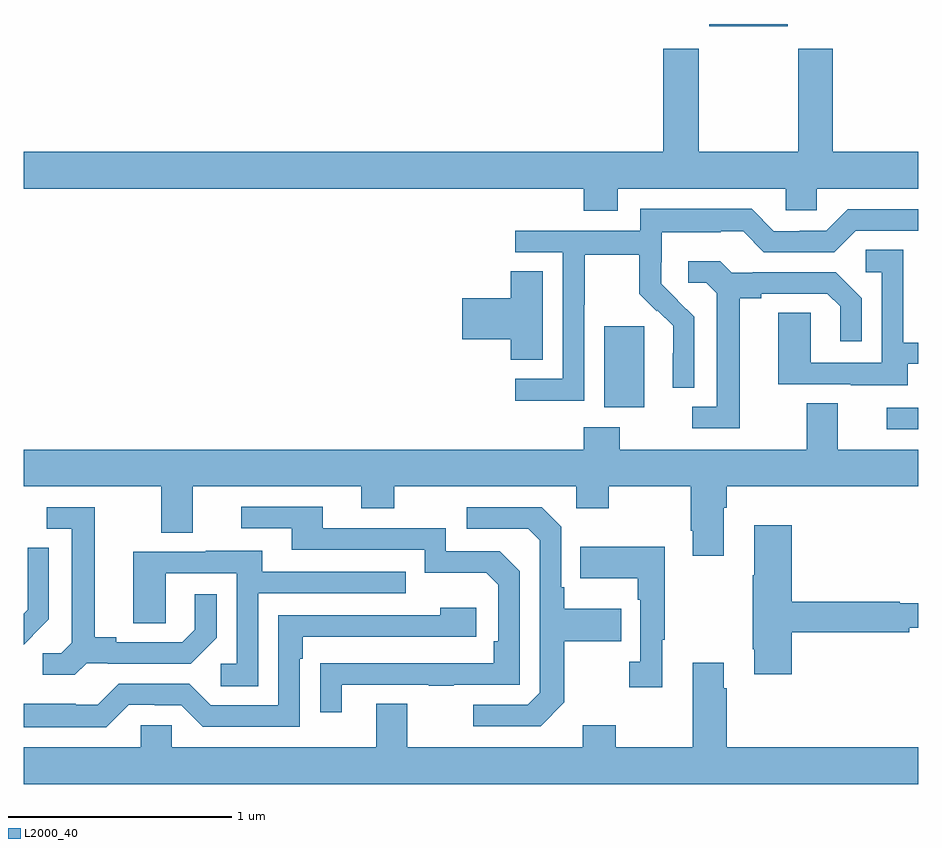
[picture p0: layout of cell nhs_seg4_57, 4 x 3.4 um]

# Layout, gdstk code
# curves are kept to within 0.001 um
import gdstk
lib = gdstk.Library(unit=1e-6, precision=1e-09)
def R(c, l, rs):  # rectangles x0, y0, x1, y1
    for r in rs: c.add(gdstk.rectangle(r[:2], r[2:], *l))
def P(c, l, *ps):  # polygons
    for p in ps: c.add(gdstk.Polygon(p, *l))
L2000_40 = (2000, 40)

nhs_seg4_57 = lib.new_cell('nhs_seg4_57')
R(nhs_seg4_57, L2000_40, [(116.859,785.088,117,785.184), (115.595,785.186,115.774,785.547), (116.066,786.89,116.416,786.9)])
P(nhs_seg4_57, L2000_40, [(115.657,786.164),(116.409,786.164),(116.409,786.066),(116.547,786.066),(116.547,786.164),(117,786.164),(117,786.328),(116.619,786.328),(116.619,786.79),(116.464,786.79),(116.464,786.328),(116.019,786.328),(116.019,786.79),(115.859,786.79),(115.859,786.328),(113,786.328),(113,786.164),(115.505,786.164),(115.505,786.065),(115.657,786.065)],
  [(115.506,785.644),(115.509,785.644),(115.509,785.868),(115.753,785.868),(115.753,785.693),(115.83,785.616),(115.833,785.619),(115.904,785.549),(115.904,785.426),(115.902,785.426),(115.902,785.272),(115.998,785.272),(115.998,785.59),(115.852,785.738),(115.852,785.835),(115.854,785.835),(115.854,785.969),(116.117,785.969),(116.117,785.973),(116.217,785.973),(116.31,785.88),(116.625,785.88),(116.721,785.976),(117,785.976),(117,786.072),(116.685,786.072),(116.589,785.976),(116.471,785.976),(116.471,785.973),(116.355,785.973),(116.255,786.073),(115.758,786.073),(115.758,785.976),(115.197,785.976),(115.197,785.88),(115.41,785.88),(115.41,785.313),(115.197,785.313),(115.197,785.215),(115.506,785.215)],
  [(116.953,785.379),(117,785.379),(117,785.475),(116.934,785.475),(116.934,785.891),(116.766,785.891),(116.766,785.79),(116.838,785.79),(116.838,785.385),(116.52,785.385),(116.52,785.609),(116.375,785.609),(116.375,785.289),(116.699,785.289),(116.699,785.285),(116.953,785.285)],
  [(116.203,785.672),(116.299,785.672),(116.299,785.694),(116.594,785.694),(116.651,785.637),(116.651,785.481),(116.748,785.481),(116.748,785.674),(116.632,785.79),(116.26,785.79),(116.26,785.787),(116.166,785.787),(116.114,785.839),(115.971,785.839),(115.971,785.742),(116.052,785.742),(116.099,785.695),(116.099,785.187),(115.989,785.187),(115.989,785.091),(116.203,785.091)],
  [(115.321,785.795),(115.178,785.795),(115.178,785.672),(114.96,785.672),(114.96,785.489),(115.178,785.489),(115.178,785.398),(115.321,785.398)],
  [(116.131,784.736),(116.144,784.736),(116.144,784.832),(117,784.832),(117,784.996),(116.641,784.996),(116.641,785.204),(116.501,785.204),(116.501,784.996),(115.665,784.996),(115.665,785.095),(115.505,785.095),(115.505,784.996),(113,784.996),(113,784.832),(113.615,784.832),(113.615,784.624),(113.755,784.624),(113.755,784.832),(114.509,784.832),(114.509,784.733),(114.657,784.733),(114.657,784.832),(115.47,784.832),(115.47,784.733),(115.617,784.733),(115.617,784.832),(115.984,784.832),(115.984,784.633),(115.991,784.633),(115.991,784.521),(116.131,784.521)],
  [(114.421,783.945),(114.811,783.945),(114.811,783.94),(114.923,783.94),(114.923,783.945),(115.218,783.945),(115.218,784.452),(115.128,784.542),(114.888,784.542),(114.888,784.644),(114.337,784.644),(114.337,784.74),(113.973,784.74),(113.973,784.644),(114.197,784.644),(114.197,784.548),(114.792,784.548),(114.792,784.445),(115.069,784.445),(115.122,784.392),(115.122,784.138),(115.102,784.138),(115.102,784.041),(114.325,784.04),(114.325,783.822),(114.421,783.822)],
  [(115.417,783.865),(115.417,784.138),(115.673,784.138),(115.673,784.285),(115.417,784.285),(115.417,784.381),(115.404,784.381),(115.404,784.65),(115.317,784.737),(114.981,784.737),(114.981,784.641),(115.257,784.641),(115.308,784.59),(115.308,783.909),(115.254,783.855),(115.011,783.855),(115.011,783.759),(115.311,783.759)],
  [(113.28,784.041),(113.374,784.041),(113.374,784.038),(113.746,784.038),(113.862,784.154),(113.862,784.348),(113.765,784.348),(113.765,784.191),(113.708,784.134),(113.413,784.134),(113.413,784.157),(113.317,784.157),(113.317,784.737),(113.103,784.737),(113.103,784.641),(113.213,784.641),(113.213,784.133),(113.166,784.086),(113.085,784.086),(113.085,783.989),(113.228,783.989)],
  [(116.435,784.18),(116.96,784.18),(116.96,784.199),(117,784.199),(117,784.309),(116.918,784.309),(116.918,784.316),(116.435,784.316),(116.435,784.657),(116.267,784.657),(116.267,784.433),(116.26,784.433),(116.26,784.102),(116.267,784.102),(116.267,783.99),(116.435,783.99)],
  [(115.855,784.145),(115.867,784.145),(115.867,784.561),(115.489,784.561),(115.489,784.421),(115.746,784.421),(115.746,784.325),(115.758,784.325),(115.758,784.046),(115.707,784.046),(115.707,783.933),(115.855,783.933)],
  [(113.04,784.164),(113.039,784.165),(113.112,784.238),(113.112,784.556),(113.016,784.556),(113.016,784.402),(113.018,784.402),(113.018,784.28),(113,784.262),(113,784.124)],
  [(114.048,784.353),(114.707,784.353),(114.707,784.449),(114.067,784.449),(114.067,784.543),(113.813,784.543),(113.813,784.539),(113.489,784.539),(113.489,784.219),(113.634,784.219),(113.634,784.443),(113.952,784.443),(113.952,784.038),(113.88,784.038),(113.88,783.937),(114.048,783.937)],
  [(113.469,783.855),(113.585,783.855),(113.585,783.852),(113.703,783.852),(113.799,783.756),(114.234,783.756),(114.234,784.061),(114.247,784.061),(114.247,784.158),(115.024,784.158),(115.024,784.288),(114.863,784.288),(114.863,784.254),(114.138,784.254),(114.138,783.852),(113.835,783.852),(113.739,783.948),(113.424,783.948),(113.331,783.855),(113.231,783.855),(113.231,783.859),(113,783.859),(113,783.755),(113.369,783.755)],
  [(117,783.664),(116.144,783.664),(116.144,783.929),(116.131,783.929),(116.131,784.042),(115.991,784.042),(115.991,783.664),(115.647,783.664),(115.647,783.763),(115.499,783.763),(115.499,783.664),(114.715,783.664),(114.715,783.859),(114.575,783.859),(114.575,783.664),(113.661,783.664),(113.661,783.762),(113.523,783.762),(113.523,783.664),(113,783.664),(113,783.5),(117,783.5)])

lib.write_gds('nhs_seg4_57.gds')
